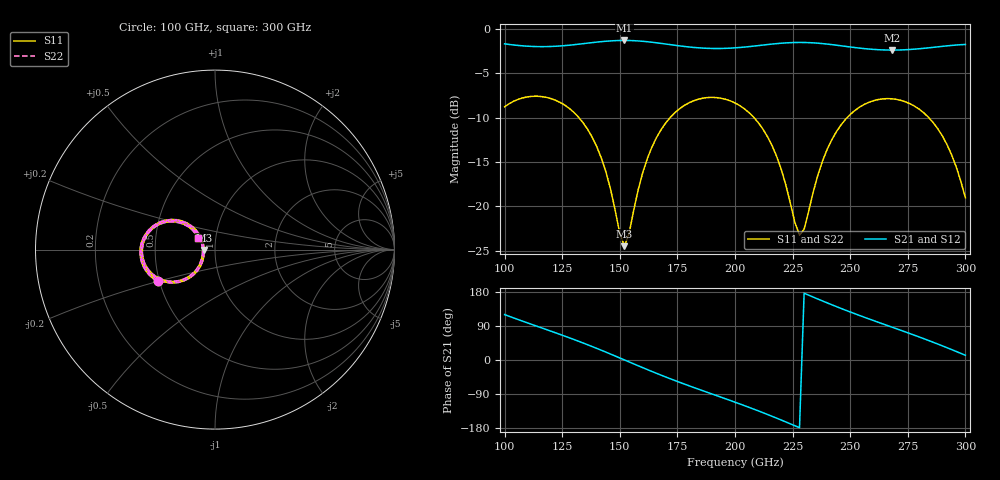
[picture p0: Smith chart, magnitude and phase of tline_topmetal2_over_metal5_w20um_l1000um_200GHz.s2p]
#  GHZ S DB R 50
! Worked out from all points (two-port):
!   101 points, 100 GHz to 300 GHz, reference 50 ohm
!   highest |S21| = -1.28 dB at 152 GHz (marker M1); lowest = -2.4 dB at 268 GHz (marker M2)
!   |S21| within 3 dB of the highest: start of sweep to end of sweep
!   lowest |S11| = -24.5 dB at 152 GHz (marker M3), VSWR 1.13, Z = 44.4 - j0.187 ohm
!   |S11| at or under -10 dB: 132.3 GHz to 171.8 GHz (39.51 GHz wide, 26 % of centre); 208.3 GHz to 248.7 GHz (40.36 GHz wide, 17.7 % of centre); 284.2 GHz to end of sweep
!   |S22| runs from -24.4 to -7.6 dB; largest |S21 - S12| = 0
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100  -8.76 -150.9  -1.66 119.8  -1.66 119.8  -8.75 -150.9
118  -7.69 174.8  -1.97 80.6  -1.97 80.6  -7.69 174.9
134  -10.54 145.5  -1.64 45.0  -1.64 45.0  -10.54 145.7
142  -14.56 134.6  -1.41 25.7  -1.41 25.7  -14.54 134.9
152  -24.50 -178.0  -1.28 0.2  -1.28 0.2  -24.37 -177.9
160  -16.15 -129.3  -1.37 -20.3  -1.37 -20.3  -16.14 -129.5
168  -11.31 -137.8  -1.61 -40.2  -1.61 -40.2  -11.30 -137.9
184  -7.92 -166.6  -2.11 -76.7  -2.11 -76.7  -7.91 -166.5
200  -8.33 164.3  -2.11 -111.3  -2.11 -111.3  -8.33 164.5
208  -9.91 150.3  -1.92 -129.3  -1.92 -129.3  -9.90 150.5
216  -13.10 138.6  -1.69 -148.3  -1.69 -148.3  -13.09 139.0
228  -23.25 176.7  -1.50 -178.7  -1.50 -178.7  -23.06 176.9
230  -22.58 -159.0  -1.51 176.2  -1.51 176.2  -22.42 -159.4
234  -18.33 -135.7  -1.55 165.9  -1.55 165.9  -18.27 -136.2
240  -13.57 -134.2  -1.69 150.8  -1.69 150.8  -13.55 -134.5
248  -10.18 -145.3  -1.95 131.4  -1.95 131.4  -10.17 -145.5
258  -8.27 -162.9  -2.24 108.7  -2.24 108.7  -8.26 -162.9
268  -7.86 179.3  -2.36 87.0  -2.36 87.0  -7.86 179.4
278  -8.70 161.7  -2.26 65.1  -2.26 65.1  -8.70 161.9
288  -11.23 145.5  -2.00 42.1  -2.00 42.1  -11.22 145.8
294  -14.17 139.2  -1.84 27.6  -1.84 27.6  -14.15 139.6
300  -19.03 145.5  -1.73 12.5  -1.73 12.5  -18.94 146.1
